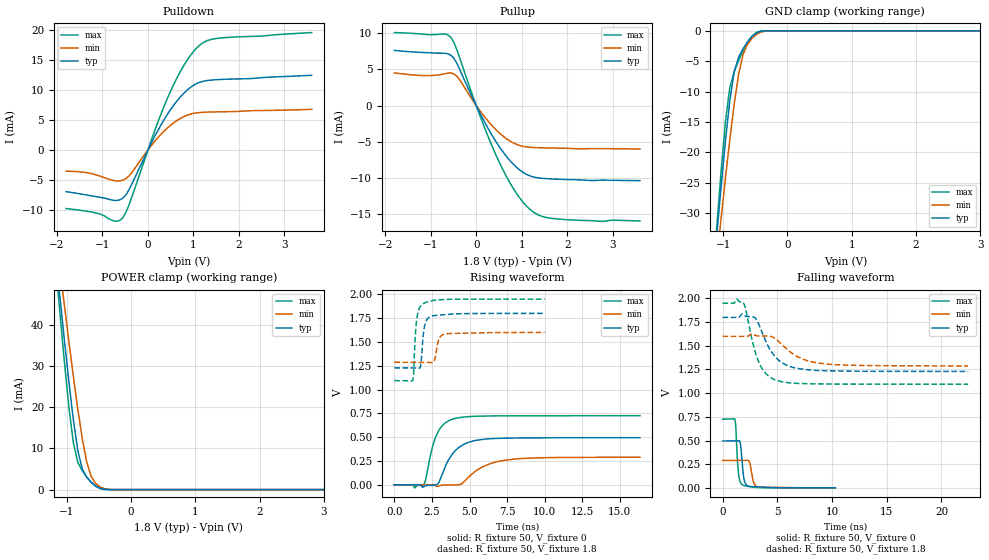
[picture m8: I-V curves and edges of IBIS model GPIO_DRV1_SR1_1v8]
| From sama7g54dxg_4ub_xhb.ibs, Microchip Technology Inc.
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|   Model   GPIO_DRV1_SR1
[Model] GPIO_DRV1_SR1_1v8
Model_type I/O
Enable   Active-High
Vinl  =  0.585
Vinh  =  1.365
Vmeas =  0.975
| Capacitance   typ   min   max
C_comp   2.41728391654022e-12   2.38962941336373e-12   2.45515367317009e-12
[Model Spec]
| Subparameter   typ   min   max
Vinl   0.54   0.48   0.585
Vinh   1.26   1.12   1.365
Vmeas   0.9   0.8   0.975
| Variables   typ   min   max
[GND Clamp Reference]   0   0   0
[POWER Clamp Reference]   1.8   1.6   1.95
[Pulldown Reference]   0   0   0
[Pullup Reference]   1.8   1.6   1.95
[Temperature Range]   25   125   -40
[Voltage Range]   1.8   1.6   1.95
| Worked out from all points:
|   slope of the pulldown table from 0 to 0.27 V, typ, clamps not added: 68.6 ohm
|   slope of the pullup table from 0 to 0.27 V, typ, clamps not added: 83.3 ohm
|   GND clamp passes 1 mA (typ) near -0.56 V on its own axis
|   POWER clamp passes 1 mA (typ) near -0.56 V on its own axis
|   falling waveform, R_fixture 50, V_fixture 0: 20-80 % time 249ps typ, 292ps min, 225ps max; typ from 0.495 V to 0 V
|   falling waveform, R_fixture 50, V_fixture 1.8: 20-80 % time 1.71ns typ, 2.35ns min, 1.27ns max; typ from 1.8 V to 1.23 V
|   rising waveform, R_fixture 50, V_fixture 0: 20-80 % time 1.17ns typ, 1.78ns min, 798ps max; typ from 0 V to 0.494 V
|   rising waveform, R_fixture 50, V_fixture 1.8: 20-80 % time 231ps typ, 256ps min, 225ps max; typ from 1.23 V to 1.8 V
[GND Clamp]
| Voltage   I(typ)   I(min)   I(max)
-1.8V     -124mA     -113.1mA   -138.2mA
-1.103V   -34.1mA    -38.11mA   -32.84mA
-1.034V   -25.94mA   -31.12mA   -23.44mA
-965.5mV  -18.25mA   -24.33mA   -15.06mA
-896.6mV  -11.47mA   -17.89mA   -9.313mA
-827.6mV  -6.669mA   -12mA      -6.712mA
-758.6mV  -4.323mA   -7.104mA   -4.878mA
-689.7mV  -2.915mA   -3.856mA   -3.266mA
-620.7mV  -1.803mA   -2.187mA   -1.898mA
-482.8mV  -356.8uA   -601.5uA   -260uA
-275.9mV  -775.2nA   -9.069uA   -225.6nA
3.6V      0A         0A         0A
[POWER Clamp]
| Voltage   I(typ)   I(min)   I(max)
-1.8V     159mA      147.7mA    172.7mA
-1.172V   57.23mA    62.56mA    54.88mA
-1.103V   46.56mA    53.53mA    42.64mA
-1.034V   36.17mA    44.64mA    30.86mA
-965.5mV  26.2mA     35.95mA    20mA
-896.6mV  17.03mA    27.55mA    11.43mA
-827.6mV  9.546mA    19.61mA    6.684mA
-758.6mV  5.067mA    12.48mA    4.593mA
-689.7mV  3.011mA    6.794mA    3.083mA
-551.7mV  933.7uA    1.528mA    827.2uA
-275.9mV  829.8nA    10.83uA    219.8nA
3.6V      0A         0A         0A
[Pulldown]
| Voltage   I(typ)   I(min)   I(max)
-1.8V     -6.949mA   -3.545mA   -9.754mA
-1.103V   -7.822mA   -4.235mA   -10.56mA
-758.6mV  -8.396mA   -5.087mA   -11.79mA
-620.7mV  -8.314mA   -5.161mA   -11.74mA
-551.7mV  -8.016mA   -5.028mA   -11.27mA
-413.8mV  -6.596mA   -4.316mA   -9.101mA
186.2mV   2.787mA    1.763mA    3.978mA
496.6mV   6.701mA    4.1mA      9.749mA
869mV     9.999mA    5.789mA    15.01mA
1.179V    11.35mA    6.235mA    17.66mA
1.614V    11.72mA    6.343mA    18.63mA
3.6V      12.41mA    6.752mA    19.51mA
[Pullup]
| Voltage   I(typ)   I(min)   I(max)
-1.8V     7.586mA    4.488mA    10.04mA
-1.103V   7.279mA    4.108mA    9.783mA
-689.7mV  7.188mA    4.364mA    9.844mA
-551.7mV  6.898mA    4.477mA    9.339mA
-413.8mV  5.671mA    3.945mA    7.472mA
62.07mV   -788.1uA   -545.9uA   -1.056mA
496.6mV   -5.563mA   -3.707mA   -7.665mA
869mV     -8.412mA   -5.3mA     -11.94mA
1.241V    -9.808mA   -5.775mA   -14.59mA
1.49V     -10.04mA   -5.832mA   -15.34mA
1.8V      -10.15mA   -5.872mA   -15.62mA
3.6V      -10.35mA   -5.988mA   -15.89mA
[Ramp]
dV/dt_r   0.297011/1.17116n  0.173882/1.79703n  0.435567/0.798738n
dV/dt_f   0.34318/1.71915n  0.188303/2.37913n  0.51367/1.26881n
R_load = 50
[Falling Waveform]
R_fixture = 50
V_fixture = 0
V_fixture_min = 0
V_fixture_max = 0
| Time   V(typ)   V(min)   V(max)
0s        495mV      289.8mV    725.9mV
1.135ns   495.8mV    290.2mV    721mV
1.444ns   496mV      290.3mV    163.6mV
1.626ns   469.5mV    290.3mV    59.52mV
1.784ns   263mV      290.4mV    33.25mV
2.11ns    40.67mV    290.5mV    21.12mV
2.443ns   15.69mV    276.4mV    13.5mV
2.821ns   12.58mV    64.46mV    7.468mV
3.222ns   10.81mV    10.58mV    3.927mV
10.3ns    467.1uV    229.1uV    565.3uV
[Falling Waveform]
R_fixture = 50
V_fixture = 1.8
V_fixture_min = 1.6
V_fixture_max = 1.95
| Time   V(typ)   V(min)   V(max)
0s        1.8V       1.6V       1.95V
1.31ns    1.799V     1.599V     1.993V
1.921ns   1.829V     1.599V     1.95V
2.807ns   1.804V     1.624V     1.507V
3.23ns    1.748V     1.604V     1.349V
3.943ns   1.548V     1.604V     1.208V
5.007ns   1.361V     1.558V     1.132V
6.751ns   1.264V     1.391V     1.104V
8.722ns   1.24V      1.318V     1.098V
22.44ns   1.229V     1.288V     1.094V
[Rising Waveform]
R_fixture = 50
V_fixture = 0
V_fixture_min = 0
V_fixture_max = 0
| Time   V(typ)   V(min)   V(max)
0s        27.06nV    203.6nV    28.43nV
1.969ns   -18.2mV    -291uV     6.11mV
2.548ns   -7.388mV   -376.6uV   405.2mV
2.843ns   2.919mV    -18.15mV   536mV
3.365ns   182.4mV    -3.309mV   647.4mV
3.976ns   343.7mV    -2.832mV   694mV
4.922ns   445.6mV    77.04mV    715.2mV
5.846ns   475.3mV    186.6mV    721.2mV
7.321ns   489mV      257.4mV    723.9mV
16.34ns   494.3mV    289mV      725.6mV
[Rising Waveform]
R_fixture = 50
V_fixture = 1.8
V_fixture_min = 1.6
V_fixture_max = 1.95
| Time   V(typ)   V(min)   V(max)
0s        1.228V     1.286V     1.094V
1.222ns   1.227V     1.286V     1.096V
1.408ns   1.227V     1.286V     1.599V
1.514ns   1.227V     1.286V     1.763V
1.747ns   1.249V     1.286V     1.876V
1.973ns   1.632V     1.286V     1.906V
2.629ns   1.776V     1.293V     1.937V
2.964ns   1.781V     1.527V     1.942V
3.373ns   1.788V     1.583V     1.946V
9.997ns   1.8V       1.6V       1.95V
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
